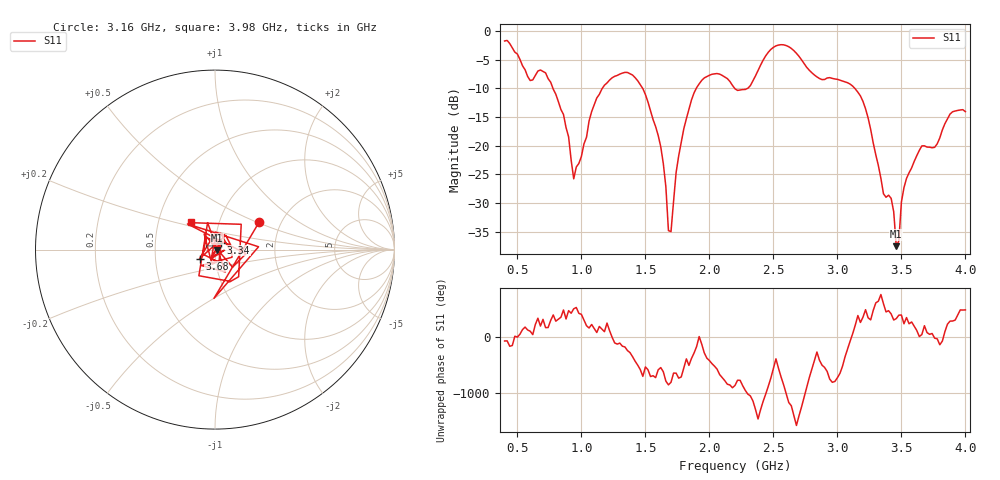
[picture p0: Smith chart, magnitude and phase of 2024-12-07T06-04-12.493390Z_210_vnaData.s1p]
!Created with skrf (http://scikit-rf.org).
# Hz S RI R 50.0
!freq ReS11 ImS11
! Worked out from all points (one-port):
!   181 points, 400 MHz to 4 GHz, reference 50 ohm
!   lowest |S11| = -37.6 dB at 3.46 GHz (marker M1), VSWR 1.03, Z = 51.2 - j0.51 ohm
!   |S11| at or under -10 dB: 777.8 MHz to 1.163 GHz (385.4 MHz wide, 39.7 % of centre); 1.479 GHz to 1.897 GHz (418.3 MHz wide, 24.8 % of centre); 3.136 GHz to end of sweep (the widest 3 of 4)
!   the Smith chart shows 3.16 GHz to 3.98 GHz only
!   S11 on the Smith chart (normalised r, x): 3.16 GHz: 1.55, +0.53; 3.34 GHz: 1.07, +0.08; 3.68 GHz: 0.84, -0.09; 3.98 GHz: 0.73, +0.24
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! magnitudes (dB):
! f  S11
! 400 MHz  -1.7
! 600 MHz  -8.6
! 720 MHz  -7.3
! 860 MHz  -14.6
! 940 MHz  -25.8
! 1.12 GHz  -11.7
! 1.3 GHz  -7.5
! 1.44 GHz  -8.7
! 1.58 GHz  -16.7
! 1.64 GHz  -23.1
! 1.68 GHz  -34.8
! 1.7 GHz  -35.0
! 1.76 GHz  -21.8
! 1.94 GHz  -8.6
! 2.2 GHz  -10.1
! 2.5 GHz  -2.8
! 2.66 GHz  -3.4
! 3.1 GHz  -9.3
! 3.16 GHz  -10.7
! 3.34 GHz  -25.7
! 3.42 GHz  -29.2
! 3.46 GHz  -37.6
! 3.48 GHz  -36.6
! 3.5 GHz  -29.9
! 3.56 GHz  -24.7
! 3.68 GHz  -20.0
! 3.98 GHz  -13.7
! 4 GHz  -14.1
